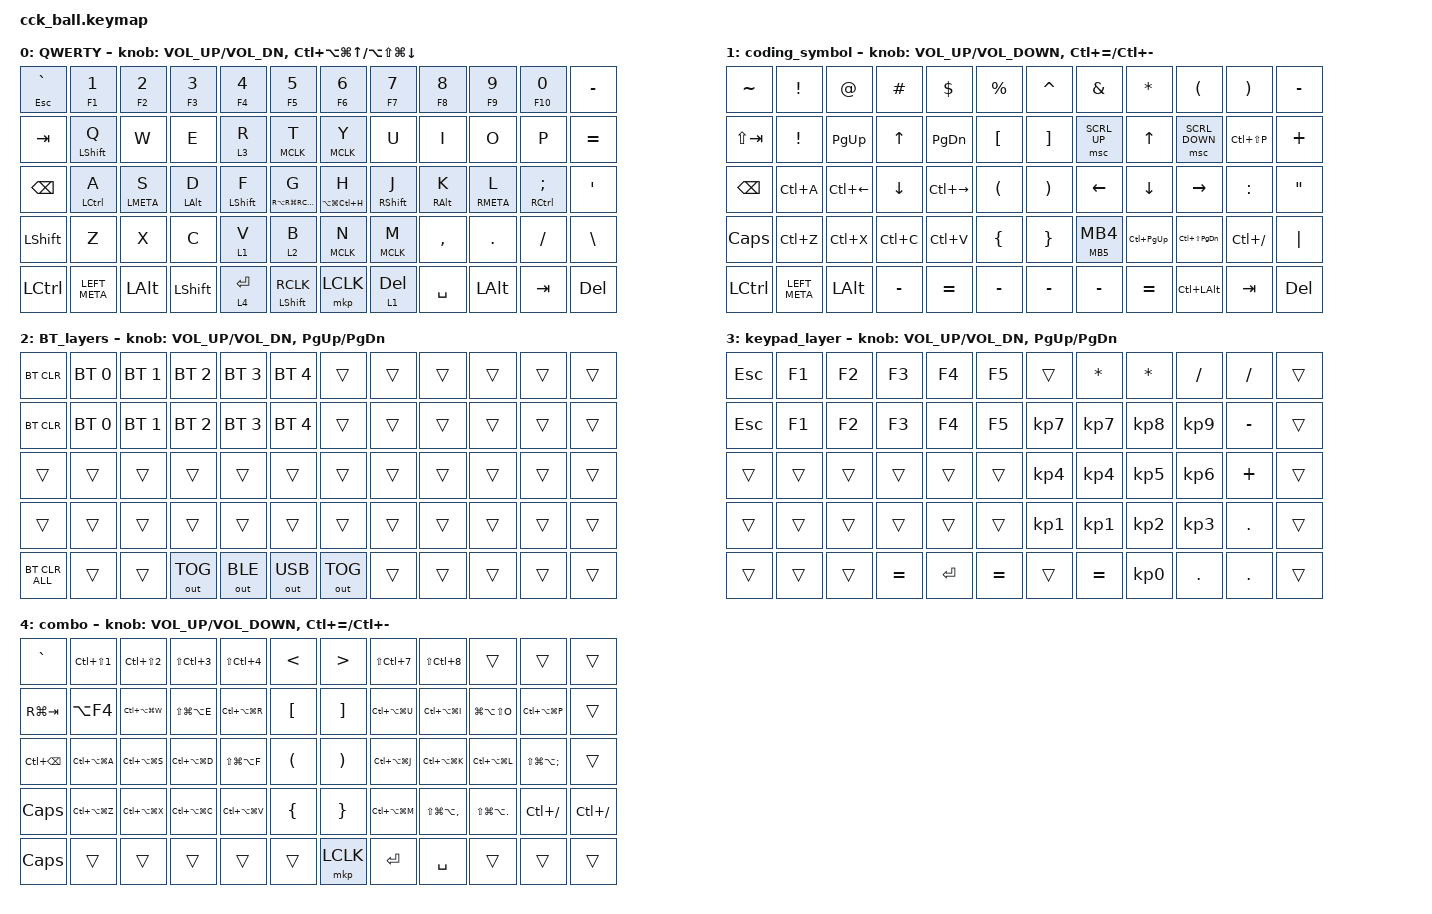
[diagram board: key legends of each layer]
#define ZMK_POINTING_DEFAULT_MOVE_VAL 1000 // 600
#define ZMK_POINTING_DEFAULT_SCRL_VAL 12   // 10

#include <input/processors.dtsi>
#include <zephyr/dt-bindings/input/input-event-codes.h>
#include <behaviors.dtsi>
#include <dt-bindings/zmk/bt.h>
#include <dt-bindings/zmk/keys.h>
#include <dt-bindings/zmk/outputs.h>
#include <dt-bindings/zmk/pointing.h>

&mmv_input_listener { input-processors = <&zip_xy_scaler 2 1>; };

&msc_input_listener { input-processors = <&zip_scroll_scaler 2 1>; };

&msc {
    acceleration-exponent = <0>;      // 0
    time-to-max-speed-ms = <300>;       // 300
    delay-ms = <0>;                   // 0
};

&mmv {
    time-to-max-speed-ms = <500>;
    acceleration-exponent = <1>;
    trigger-period-ms = <16>;
};

&soft_off { hold-time-ms = <2000>; };

&mt {
    flavor = "tap-preferred";
    tapping-term-ms = <350>;
};

/ {
    // 上下滚动编码器行为

    scroll_vertical_encoder: scroll_vertical_encoder {
        compatible = "zmk,behavior-sensor-rotate";
        #sensor-binding-cells = <0>;
        bindings = <&msc SCRL_DOWN>, <&msc SCRL_UP>;

        tap-ms = <100>;
    };

    // 左右滚动编码器行为

    scroll_horizontal_encoder: scroll_horizontal_encoder {
        compatible = "zmk,behavior-sensor-rotate";
        #sensor-binding-cells = <0>;
        bindings = <&msc SCRL_LEFT>, <&msc SCRL_RIGHT>;

        tap-ms = <100>;
    };

    hml: hml {
        compatible = "zmk,behavior-hold-tap";
        label = "HML";
        bindings = <&kp>, <&kp>;

        #binding-cells = <2>;
        tapping-term-ms = <280>;
        quick-tap-ms = <175>;
        require-prior-idle-ms = <150>;
        flavor = "tap-preferred";
        hold-trigger-on-release;
        hold-trigger-key-positions = <6 30 18 42 56 55 7 8 9 10 11 19 20 21 22 23 31 32 33 34 35 43 44 45 46 47 57 58 59 54 53 52 51>;
    };

    hmr: hmr {
        compatible = "zmk,behavior-hold-tap";
        label = "HMR";
        bindings = <&kp>, <&kp>;

        #binding-cells = <2>;
        tapping-term-ms = <280>;
        quick-tap-ms = <175>;
        require-prior-idle-ms = <150>;
        flavor = "tap-preferred";
        hold-trigger-key-positions = <0 1 2 3 4 5 12 13 14 15 16 17 24 25 26 27 28 29 36 37 38 39 40 41 48 49 50 51 52 53 54 55 56>;
        hold-trigger-on-release;
    };

    mt_mkp: mt_mkp {
        compatible = "zmk,behavior-hold-tap";
        label = "MT_MKP";
        bindings = <&mkp>, <&mkp>;

        #binding-cells = <2>;
        flavor = "tap-preferred";
        tapping-term-ms = <200>;
    };

    left_brackets: left_brackets {
        compatible = "zmk,behavior-tap-dance";
        label = "LEFT_BRACKETS";
        #binding-cells = <0>;
        bindings =
            <&kp LEFT_PARENTHESIS>,
            <&kp LEFT_BRACKET>,
            <&kp LEFT_BRACE>,
            <&kp LESS_THAN>;
    };

    right_brackets: right_brackets {
        compatible = "zmk,behavior-tap-dance";
        label = "RIGHT_BRACKETS";
        #binding-cells = <0>;
        bindings =
            <&kp RIGHT_PARENTHESIS>,
            <&kp RIGHT_BRACKET>,
            <&kp RIGHT_BRACE>,
            <&kp GREATER_THAN>;
    };

    wechat_slack_language: wechat_slack_language {
        compatible = "zmk,behavior-tap-dance";
        label = "WECHAT_SLACK_LANGUAGE";
        #binding-cells = <0>;
        bindings = <&kp LC(LA(W))>, <&kp LC(LA(E))>, <&kp LG(SPACE)>;

        tapping-term-ms = <500>;
    };

    lt_mkp: lt_mkp {
        compatible = "zmk,behavior-hold-tap";
        label = "LT_MKP";
        bindings = <&mo>, <&mkp>;

        #binding-cells = <2>;
        tapping-term-ms = <200>;
        flavor = "tap-preferred";
    };

    mt_kp_mkp: mt_kp_mkp {
        compatible = "zmk,behavior-hold-tap";
        label = "MT_KP_MKP";
        bindings = <&mkp>, <&kp>;

        #binding-cells = <2>;
        tapping-term-ms = <200>;
        flavor = "tap-preferred";
    };

    mt_mkp_kp: mt_mkp_kp {
        compatible = "zmk,behavior-hold-tap";
        label = "MT_MKP_KP";
        bindings = <&kp>, <&mkp>;

        #binding-cells = <2>;
        tapping-term-ms = <200>;
        flavor = "tap-preferred";
    };

    behaviors {
    };

    combos { compatible = "zmk,combos"; };

    keymap {
        compatible = "zmk,keymap";

        QWERTY {
            bindings = <
&mt ESCAPE GRAVE  &mt F1 N1          &mt F2 N2     &mt F3 N3       &mt F4 N4          &mt F5 N5                   &mt F6 N6            &mt F7 N7          &mt F8 N8    &mt F9 N9     &mt F10 N0       &kp MINUS
&kp TAB           &hml LEFT_SHIFT Q  &kp W         &kp E           &lt 3 R            &mt_kp_mkp MCLK T           &mt_kp_mkp MCLK Y    &kp U              &kp I        &kp O         &kp P            &kp EQUAL
&kp BACKSPACE     &hml LCTRL A       &hml LMETA S  &hml LALT D     &hml LEFT_SHIFT F  &mt RA(RG(RC(G))) G         &mt LA(LG(LC(H))) H  &hmr RSHIFT J      &hmr RALT K  &hmr RMETA L  &hmr RCTRL SEMI  &kp SQT
&kp LEFT_SHIFT    &kp Z              &kp X         &kp C           &lt 1 V            &lt 2 B                     &mt_kp_mkp MCLK N    &mt_kp_mkp MCLK M  &kp COMMA    &kp DOT       &kp SLASH        &kp BSLH
&kp LCTRL         &kp LEFT_META      &kp LEFT_ALT  &kp LEFT_SHIFT  &lt 4 ENTER        &mt_mkp_kp LEFT_SHIFT RCLK  &mkp LCLK            &lt 1 DELETE       &kp SPACE    &kp LEFT_ALT  &kp TAB          &kp DEL
            >;

            sensor-bindings =
                <&inc_dec_kp C_VOLUME_UP C_VOL_DN>,
                <&inc_dec_kp LC(LA(LG(UP_ARROW))) LA(LS(LG(DOWN)))>;
        };

        coding_symbol {
            bindings = <
&kp TILDE      &kp EXCLAMATION  &kp AT_SIGN         &kp HASH      &kp DOLLAR           &kp PERCENT           &kp CARET              &kp AMPERSAND    &kp ASTERISK   &kp LEFT_PARENTHESIS  &kp RIGHT_PARENTHESIS  &kp MINUS
&kp LS(TAB)    &kp EXCLAMATION  &kp PG_UP           &kp UP_ARROW  &kp PG_DN            &kp LEFT_BRACKET      &kp RIGHT_BRACKET      &msc SCRL_UP     &kp UP_ARROW   &msc SCRL_DOWN        &kp LC(LS(P))          &kp PLUS
&kp BACKSPACE  &kp LC(A)        &kp LC(LEFT_ARROW)  &kp DOWN      &kp LC(RIGHT_ARROW)  &kp LEFT_PARENTHESIS  &kp RIGHT_PARENTHESIS  &kp LEFT         &kp DOWN       &kp RIGHT             &kp COLON              &kp DOUBLE_QUOTES
&kp CAPSLOCK   &kp LC(Z)        &kp LC(X)           &kp LC(C)     &kp LC(V)            &kp LEFT_BRACE        &kp RIGHT_BRACE        &mt_mkp MB5 MB4  &kp LC(PG_UP)  &kp LC(LS(PG_DN))     &kp LC(SLASH)          &kp PIPE
&kp LCTRL      &kp LEFT_META    &kp LEFT_ALT        &kp MINUS     &kp EQUAL            &kp MINUS             &kp MINUS              &kp MINUS        &kp EQUAL      &kp LC(LEFT_ALT)      &kp TAB                &kp DELETE
            >;

            sensor-bindings =
                <&inc_dec_kp C_VOLUME_UP C_VOLUME_DOWN>,
                <&inc_dec_kp LC(EQUAL) LC(MINUS)>;
        };

        BT_layers {
            bindings = <
&bt BT_CLR      &bt BT_SEL 0  &bt BT_SEL 1  &bt BT_SEL 2  &bt BT_SEL 3  &bt BT_SEL 4  &trans        &trans  &trans  &trans  &trans  &trans
&bt BT_CLR      &bt BT_SEL 0  &bt BT_SEL 1  &bt BT_SEL 2  &bt BT_SEL 3  &bt BT_SEL 4  &trans        &trans  &trans  &trans  &trans  &trans
&trans          &trans        &trans        &trans        &trans        &trans        &trans        &trans  &trans  &trans  &trans  &trans
&trans          &trans        &trans        &trans        &trans        &trans        &trans        &trans  &trans  &trans  &trans  &trans
&bt BT_CLR_ALL  &trans        &trans        &out OUT_TOG  &out OUT_BLE  &out OUT_USB  &out OUT_TOG  &trans  &trans  &trans  &trans  &trans
            >;

            sensor-bindings = <&inc_dec_kp C_VOL_UP C_VOL_DN &inc_dec_kp PG_UP PG_DN>;
        };

        keypad_layer {
            bindings = <
&kp ESCAPE  &kp F1  &kp F2  &kp F3     &kp F4     &kp F5     &trans           &kp ASTERISK     &kp ASTERISK     &kp SLASH   &kp SLASH   &trans
&kp ESCAPE  &kp F1  &kp F2  &kp F3     &kp F4     &kp F5     &kp KP_NUMBER_7  &kp KP_N7        &kp KP_N8        &kp KP_N9   &kp MINUS   &trans
&trans      &trans  &trans  &trans     &trans     &trans     &kp KP_NUMBER_4  &kp KP_NUMBER_4  &kp KP_N5        &kp KP_N6   &kp PLUS    &trans
&trans      &trans  &trans  &trans     &trans     &trans     &kp KP_NUMBER_1  &kp KP_N1        &kp KP_N2        &kp KP_N3   &kp PERIOD  &trans
&trans      &trans  &trans  &kp EQUAL  &kp ENTER  &kp EQUAL  &trans           &kp EQUAL        &kp KP_NUMBER_0  &kp PERIOD  &kp PERIOD  &trans
            >;

            sensor-bindings = <&inc_dec_kp C_VOL_UP C_VOL_DN &inc_dec_kp PG_UP PG_DN>;
        };

        combo {
            bindings = <
&kp GRAVE          &kp LC(LS(NUMBER_1))  &kp LC(LS(NUMBER_2))  &kp LS(LC(NUMBER_3))  &kp LS(LC(NUMBER_4))  &kp LESS_THAN         &kp GREATER_THAN       &kp LS(LC(N7))     &kp LS(LC(N8))         &trans                  &trans                     &trans
&kp RG(TAB)        &kp LA(F4)            &kp LC(LA(LG(W)))     &kp LS(LG(LA(E)))     &kp LC(LA(LG(R)))     &kp LEFT_BRACKET      &kp RIGHT_BRACKET      &kp LC(LA(LG(U)))  &kp LC(LA(LG(I)))      &kp LG(LA(LS(O)))       &kp LC(LA(LG(P)))          &trans
&kp LC(BACKSPACE)  &kp LC(LA(LG(A)))     &kp LC(LA(LG(S)))     &kp LC(LA(LG(D)))     &kp LS(LG(LA(F)))     &kp LEFT_PARENTHESIS  &kp RIGHT_PARENTHESIS  &kp LC(LA(LG(J)))  &kp LC(LA(LG(K)))      &kp LC(LA(LG(L)))       &kp LS(LG(LA(SEMICOLON)))  &trans
&kp CAPSLOCK       &kp LC(LA(LG(Z)))     &kp LC(LA(LG(X)))     &kp LC(LA(LG(C)))     &kp LC(LA(LG(V)))     &kp LEFT_BRACE        &kp RIGHT_BRACE        &kp LC(LA(LG(M)))  &kp LS(LG(LA(COMMA)))  &kp LS(LG(LA(PERIOD)))  &kp LC(SLASH)              &kp LC(SLASH)
&kp CAPS           &trans                &trans                &trans                &trans                &trans                &mkp LCLK              &kp ENTER          &kp SPACE              &trans                  &trans                     &trans
            >;

            sensor-bindings =
                <&inc_dec_kp C_VOLUME_UP C_VOLUME_DOWN>,
                <&inc_dec_kp LC(EQUAL) LC(MINUS)>;
        };
    };
};
